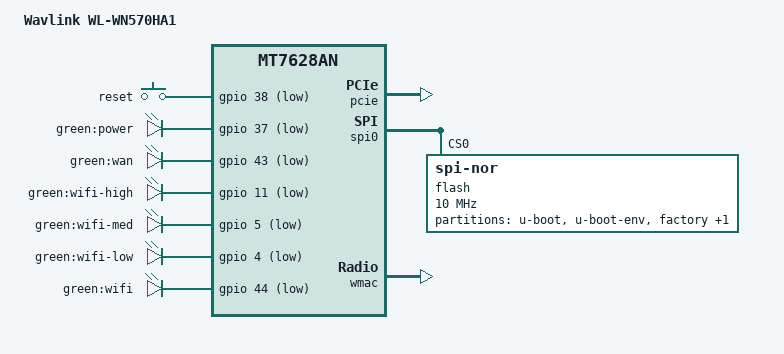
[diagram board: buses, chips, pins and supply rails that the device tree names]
#include "mt7628an.dtsi"

#include <dt-bindings/input/input.h>
#include <dt-bindings/gpio/gpio.h>

/ {
	compatible = "wavlink,wl-wn570ha1", "mediatek,mt7628an-soc";
	model = "Wavlink WL-WN570HA1";

	keys {
		compatible = "gpio-keys";

		reset {
			label = "reset";
			gpios = <&gpio 38 GPIO_ACTIVE_LOW>;
			linux,code = <KEY_RESTART>;
		};
	};

	leds {
		compatible = "gpio-leds";

		power {
			label = "green:power";
			gpios = <&gpio 37 GPIO_ACTIVE_LOW>;
			default-state = "keep";
		};

		wan {
			label = "green:wan";
			gpios = <&gpio 43 GPIO_ACTIVE_LOW>;
		};

		wifi-high {
			label = "green:wifi-high";
			gpios = <&gpio 11 GPIO_ACTIVE_LOW>;
		};

		wifi-med {
			label = "green:wifi-med";
			gpios = <&gpio 5 GPIO_ACTIVE_LOW>;
		};

		wifi-low {
			label = "green:wifi-low";
			gpios = <&gpio 4 GPIO_ACTIVE_LOW>;
		};

		wifi {
			label = "green:wifi";
			gpios = <&gpio 44 GPIO_ACTIVE_LOW>;
		};
	};
};

&state_default {
	gpio {
		groups = "i2c", "wled_an", "p0led_an", "wdt", "refclk";
		function = "gpio";
	};
};

&pcie {
	status = "okay";
};

&pcie0 {
	wifi@0,0 {
		reg = <0x0000 0 0 0 0>;
		mediatek,mtd-eeprom = <&factory 0x8000>;
		ieee80211-freq-limit = <5000000 6000000>;
	};
};

&spi0 {
	status = "okay";

	flash@0 {
		compatible = "jedec,spi-nor";
		reg = <0>;
		spi-max-frequency = <10000000>;

		partitions {
			compatible = "fixed-partitions";
			#address-cells = <1>;
			#size-cells = <1>;

			partition@0 {
				label = "u-boot";
				reg = <0x0 0x30000>;
				read-only;
			};

			partition@30000 {
				label = "u-boot-env";
				reg = <0x30000 0x10000>;
				read-only;
			};

			factory: partition@40000 {
				label = "factory";
				reg = <0x40000 0x10000>;
				read-only;
			};

			partition@50000 {
				compatible = "denx,uimage";
				label = "firmware";
				reg = <0x50000 0x7b0000>;
			};
		};
	};
};

&wmac {
	status = "okay";
};

&ethernet {
	mtd-mac-address = <&factory 0x2e>;
};

&esw {
	mediatek,portmap = <0x2f>;
};
